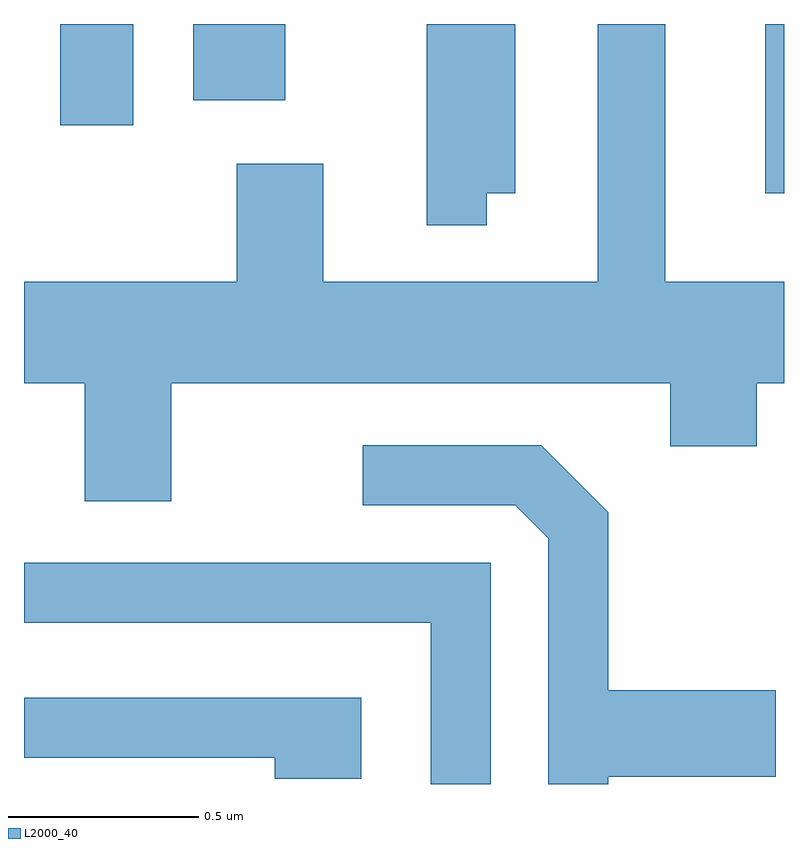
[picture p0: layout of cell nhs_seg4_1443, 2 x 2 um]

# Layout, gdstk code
import gdstk
lib = gdstk.Library(unit=1e-6, precision=1e-09)
def R(c, l, rs):  # rectangles x0, y0, x1, y1
    for r in rs: c.add(gdstk.rectangle(r[:2], r[2:], *l))
def P(c, l, *ps):  # polygons
    for p in ps: c.add(gdstk.Polygon(p, *l))
L2000_40 = (2000, 40)

nhs_seg4_1443 = lib.new_cell('nhs_seg4_1443')
R(nhs_seg4_1443, L2000_40, [(197.561,1328.536,197.611,1328.982), (195.706,1328.716,195.899,1328.982), (196.056,1328.781,196.299,1328.982)])
P(nhs_seg4_1443, L2000_40, [(195.999,1328.036),(197.311,1328.036),(197.311,1327.871),(197.539,1327.871),(197.539,1328.036),(197.611,1328.036),(197.611,1328.304),(197.299,1328.304),(197.299,1328.982),(197.121,1328.982),(197.121,1328.304),(196.399,1328.304),(196.399,1328.614),(196.171,1328.614),(196.171,1328.304),(195.611,1328.304),(195.611,1328.036),(195.771,1328.036),(195.771,1327.726),(195.999,1327.726)],
  [(196.829,1328.536),(196.904,1328.536),(196.904,1328.982),(196.671,1328.982),(196.671,1328.453),(196.829,1328.453)],
  [(197.149,1327.001),(197.589,1327.001),(197.589,1327.229),(197.149,1327.229),(197.149,1327.697),(196.972,1327.874),(196.503,1327.874),(196.503,1327.716),(196.904,1327.716),(196.991,1327.629),(196.991,1326.982),(197.149,1326.982)],
  [(196.839,1327.564),(195.611,1327.564),(195.611,1327.406),(196.681,1327.406),(196.681,1326.982),(196.839,1326.982)],
  [(196.499,1327.209),(195.611,1327.209),(195.611,1327.051),(196.271,1327.051),(196.271,1326.996),(196.499,1326.996)])

lib.write_gds('nhs_seg4_1443.gds')
